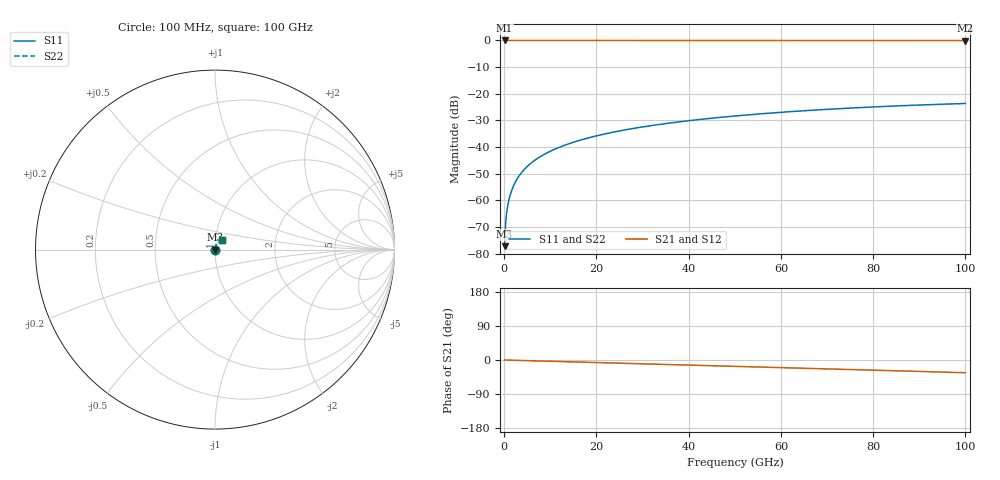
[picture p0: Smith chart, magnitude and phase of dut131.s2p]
! Touchstone file exported from HFSS 2026.1.0
!  File:  C:/ffzhzh/LocalFiles/Ansys_Project_Files/temp_train_TSV_131_1783506278_31944.aedt
!  Generated:  06:25:53 PM Jul  8, 2026
!  Design:  TSV
!  Project:  temp_train_TSV_131_1783506278_31944
! Variables:
!  h_bsmrdl = 2um
!  h_ox = 20um
!  h_rdl = 5um
!  h_sub = 61.15um
!  h_tmrdl = 5um
!  h_tsv = 61.15um
!  h_via = 3um
!  l_bsmrdl = 300um
!  l_sub = 424.02um
!  l_tmrdl = 200um
!  m_sub = 200um
!  pitch = 55.44um
!  r_tsv = 12.01um
!  s_tmrdl = 10um
!  w_bsmrdl = 18um
!  w_sub = 500um
!  w_tmrdl = 12um
!  x_tsv_center1 = 206um
!  x_tsv_center2 = 524um
!  x_tsv_center3 = 736um
!  x_tsv_center4 = 1054um
!  x_tsv_center5 = 1266um
!  x_tsv_center6 = 1584um
# GHz S MA R 50.000000
! Terminal data exported
! Port[1] = TSV1_1_T1
! Port[2] = TSV1_1_T2
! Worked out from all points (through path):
!   1000 points, 100 MHz to 100 GHz, reference 50 ohm
!   highest |S21| = 0.00 dB at 100 MHz (marker M1); lowest = 0.0 dB at 100 GHz (marker M2)
!   group delay of S21, straight-line fit = 930 fs
!   lowest |S11| = -77.2 dB at 100 MHz (marker M3), VSWR 1.00, Z = 50 + j0.0113 ohm
!   |S11| at or under -10 dB: start of sweep to end of sweep
!   |S22| runs from -77.2 to -23.7 dB; largest |S21 - S12| = 2.2e-15
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0.1  0.0001378 55.0  0.9999 -0.0  0.9999 -0.0  0.0001378 55.0
! Gamma 0 0 0 0
! Port Impedance 50 0 50 0
0.3  0.0003437 72.3  0.9999 -0.1  0.9999 -0.1  0.0003437 72.3
0.7  0.0007235 76.6  0.9998 -0.2  0.9998 -0.2  0.0007235 76.6
0.8  0.0008122 77.1  0.9998 -0.3  0.9998 -0.3  0.0008122 77.1
1  0.0009866 78.0  0.9998 -0.3  0.9998 -0.3  0.0009866 78.0
1.3  0.001245 79.1  0.9998 -0.4  0.9998 -0.4  0.001245 79.1
1.8  0.001671 80.3  0.9997 -0.6  0.9997 -0.6  0.001671 80.3
2.3  0.002093 81.1  0.9997 -0.8  0.9997 -0.8  0.002093 81.1
3  0.002678 81.7  0.9997 -1.0  0.9997 -1.0  0.002678 81.7
3.8  0.003337 82.1  0.9996 -1.3  0.9996 -1.3  0.003337 82.1
4.8  0.004153 82.4  0.9996 -1.6  0.9996 -1.6  0.004153 82.4
6  0.005125 82.6  0.9995 -2.0  0.9995 -2.0  0.005125 82.6
8.8  0.007376 82.5  0.9994 -3.0  0.9994 -3.0  0.007376 82.5
12.4  0.01024 81.9  0.9992 -4.2  0.9992 -4.2  0.01024 81.9
16.8  0.01369 80.9  0.9991 -5.6  0.9991 -5.6  0.01369 80.9
24.2  0.01942 79.0  0.9988 -8.1  0.9988 -8.1  0.01942 79.0
33.4  0.02635 76.3  0.9985 -11.2  0.9985 -11.2  0.02635 76.3
41.2  0.03204 73.9  0.9982 -13.8  0.9982 -13.8  0.03204 73.9
50.1  0.03826 71.2  0.9978 -16.8  0.9978 -16.8  0.03826 71.2
66.7  0.04897 65.9  0.9971 -22.3  0.9971 -22.3  0.04897 65.9
83.4  0.05825 60.4  0.9964 -27.9  0.9964 -27.9  0.05825 60.4
100  0.06556 55.0  0.9956 -33.5  0.9956 -33.5  0.06556 55.1
